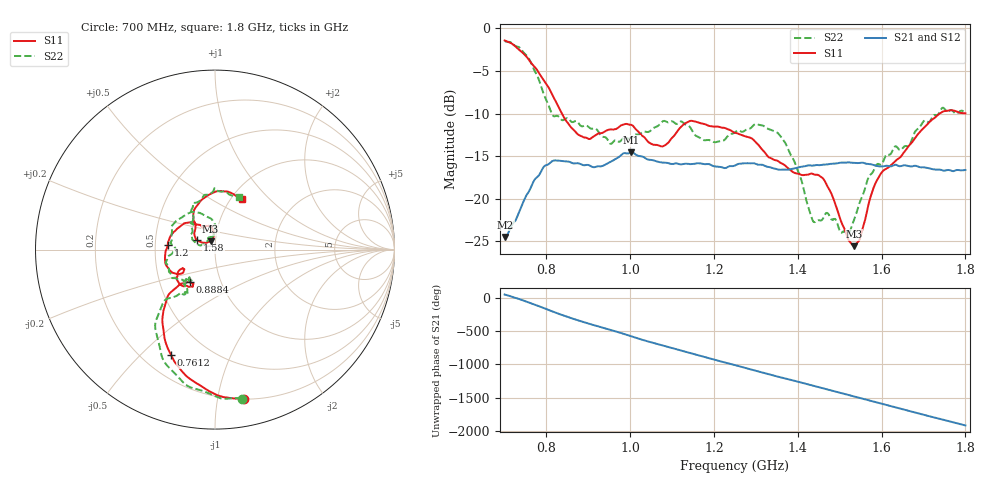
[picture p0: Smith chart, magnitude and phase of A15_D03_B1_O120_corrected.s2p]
! Created with skrf 1.9.0 (http://scikit-rf.org).
# Hz S RI R 50.0
!freq ReS11 ImS11 ReS21 ImS21 ReS12 ImS12 ReS22 ImS22
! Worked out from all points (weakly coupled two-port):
!   1601 points, 700 MHz to 1.8 GHz, reference 50 ohm
!   highest |S21| = -14.57 dB at 1.002 GHz (marker M1); lowest = -24.5 dB at 701.4 MHz (marker M2)
!   lowest |S11| = -25.6 dB at 1.534 GHz (marker M3), VSWR 1.11, Z = 47.4 + j4.44 ohm
!   |S11| at or under -10 dB: 836.9 MHz to 1.739 GHz (901.9 MHz wide, 70 % of centre)
!   |S22| runs from -24.1 to -1.5 dB; largest |S21 - S12| = 0.0035
!   S11 on the Smith chart (normalised r, x): 700 MHz: 0.20, -1.19; 761.2 MHz: 0.31, -0.62; 888.4 MHz: 0.71, -0.27; 1.2 GHz: 0.58, +0.03; 1.58 GHz: 0.81, +0.09; 1.8 GHz: 1.12, +0.70
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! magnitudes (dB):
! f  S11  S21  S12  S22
! 700 MHz  -1.4  -24.5  -24.3  -1.5
! 701.4 MHz  -1.5  -24.5  -24.1  -1.5
! 761.2 MHz  -3.9  -18.9  -18.8  -3.8
! 814.8 MHz  -7.9  -15.6  -15.6  -10.2
! 883.6 MHz  -12.7  -16.0  -15.9  -11.5
! 888.4 MHz  -12.8  -16.1  -16.0  -11.5
! 953 MHz  -11.9  -15.7  -15.7  -13.6
! 1.002 GHz  -11.3  -14.6  -14.7  -12.8
! 1.067 GHz  -13.7  -15.7  -15.6  -11.4
! 1.141 GHz  -10.9  -15.9  -15.9  -11.5
! 1.2 GHz  -11.5  -16.2  -16.2  -13.4
! 1.25 GHz  -12.3  -16.1  -16.0  -12.2
! 1.355 GHz  -15.7  -16.6  -16.5  -12.4
! 1.394 GHz  -17.0  -16.4  -16.4  -16.0
! 1.434 GHz  -17.1  -16.1  -16.1  -22.3
! 1.465 GHz  -18.0  -16.0  -16.0  -21.9
! 1.517 GHz  -24.4  -15.8  -15.8  -24.1
! 1.534 GHz  -25.6  -15.8  -15.8  -22.5
! 1.58 GHz  -18.8  -16.0  -16.0  -16.8
! 1.617 GHz  -16.3  -16.2  -16.1  -14.8
! 1.74 GHz  -10.0  -16.6  -16.6  -9.7
! 1.8 GHz  -10.0  -16.6  -16.6  -9.8
